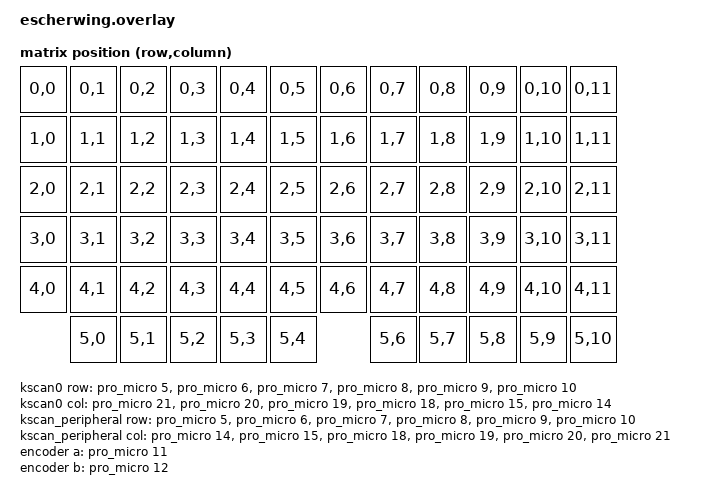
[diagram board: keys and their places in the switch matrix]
/*
 * Copyright (c) 2023 The ZMK Contributors
 *
 * SPDX-License-Identifier: MIT
 */

#include <dt-bindings/zmk/matrix_transform.h>

/ {
    chosen {
        zmk,kscan = &kscan_central;
        zmk,matrix_transform = &default_transform;
    };

    default_transform: keymap_transform_0 {
        compatible = "zmk,matrix-transform";
        columns = <12>;  // 6 cols per side
        rows = <6>;
        
        // Split keyboard layout - 35 keys per side (70 total)
        // Left side (normal orientation) | Right side (flipped)
        map = <
            RC(0,0) RC(0,1) RC(0,2) RC(0,3) RC(0,4) RC(0,5)    RC(0,6) RC(0,7) RC(0,8) RC(0,9) RC(0,10) RC(0,11)
            RC(1,0) RC(1,1) RC(1,2) RC(1,3) RC(1,4) RC(1,5)    RC(1,6) RC(1,7) RC(1,8) RC(1,9) RC(1,10) RC(1,11)
            RC(2,0) RC(2,1) RC(2,2) RC(2,3) RC(2,4) RC(2,5)    RC(2,6) RC(2,7) RC(2,8) RC(2,9) RC(2,10) RC(2,11)
            RC(3,0) RC(3,1) RC(3,2) RC(3,3) RC(3,4) RC(3,5)    RC(3,6) RC(3,7) RC(3,8) RC(3,9) RC(3,10) RC(3,11)
            RC(4,0) RC(4,1) RC(4,2) RC(4,3) RC(4,4) RC(4,5)    RC(4,6) RC(4,7) RC(4,8) RC(4,9) RC(4,10) RC(4,11)
                    RC(5,0) RC(5,1) RC(5,2) RC(5,3) RC(5,4)            RC(5,6) RC(5,7) RC(5,8) RC(5,9) RC(5,10)
        >;
    };

    kscan0: kscan {
        compatible = "zmk,kscan-gpio-matrix";
        label = "KSCAN";
        
        diode-direction = "col2row";
        
        row-gpios
            = <&pro_micro 5  (GPIO_ACTIVE_HIGH | GPIO_PULL_DOWN)>  // P0.17 - Row0
            , <&pro_micro 6  (GPIO_ACTIVE_HIGH | GPIO_PULL_DOWN)>  // P0.20 - Row1  
            , <&pro_micro 7  (GPIO_ACTIVE_HIGH | GPIO_PULL_DOWN)>  // P0.22 - Row2
            , <&pro_micro 8  (GPIO_ACTIVE_HIGH | GPIO_PULL_DOWN)>  // P0.24 - Row3
            , <&pro_micro 9  (GPIO_ACTIVE_HIGH | GPIO_PULL_DOWN)>  // P1.00 - Row4
            , <&pro_micro 10 (GPIO_ACTIVE_HIGH | GPIO_PULL_DOWN)>  // P0.11 - Row5
            ;
            
        col-gpios
            = <&pro_micro 21 GPIO_ACTIVE_HIGH>  // P0.02 - Col0
            , <&pro_micro 20 GPIO_ACTIVE_HIGH>  // P0.29 - Col1
            , <&pro_micro 19 GPIO_ACTIVE_HIGH>  // P0.31 - Col2
            , <&pro_micro 18 GPIO_ACTIVE_HIGH>  // P1.15 - Col3
            , <&pro_micro 15 GPIO_ACTIVE_HIGH>  // P1.13 - Col4
            , <&pro_micro 14 GPIO_ACTIVE_HIGH>  // P1.11 - Col5
            ;
    };

    // Split keyboard communication via TRRS
    // Central (left) side will be the primary
    kscan_central: kscan_central {
        compatible = "zmk,kscan-composite";
        label = "KSCAN_CENTRAL";
        rows = <6>;
        columns = <12>;
        
        left: left_kscan {
            kscan = <&kscan0>;
        };
        
        right: right_kscan {
            kscan = <&kscan_peripheral>;
            column-offset = <6>;
        };
    };

    kscan_peripheral: kscan_peripheral {
        compatible = "zmk,kscan-gpio-matrix";
        label = "KSCAN_PERIPHERAL";
        
        diode-direction = "col2row";
        
        // Right side pins (accounting for flipped orientation)
        row-gpios
            = <&pro_micro 5  (GPIO_ACTIVE_HIGH | GPIO_PULL_DOWN)>  // P0.17 - Row0
            , <&pro_micro 6  (GPIO_ACTIVE_HIGH | GPIO_PULL_DOWN)>  // P0.20 - Row1  
            , <&pro_micro 7  (GPIO_ACTIVE_HIGH | GPIO_PULL_DOWN)>  // P0.22 - Row2
            , <&pro_micro 8  (GPIO_ACTIVE_HIGH | GPIO_PULL_DOWN)>  // P0.24 - Row3
            , <&pro_micro 9  (GPIO_ACTIVE_HIGH | GPIO_PULL_DOWN)>  // P1.00 - Row4
            , <&pro_micro 10 (GPIO_ACTIVE_HIGH | GPIO_PULL_DOWN)>  // P0.11 - Row5
            ;
            
        // Columns are flipped for the right side
        col-gpios
            = <&pro_micro 14 GPIO_ACTIVE_HIGH>  // P1.11 - Col5 (flipped to Col0)
            , <&pro_micro 15 GPIO_ACTIVE_HIGH>  // P1.13 - Col4 (flipped to Col1)
            , <&pro_micro 18 GPIO_ACTIVE_HIGH>  // P1.15 - Col3 (flipped to Col2)
            , <&pro_micro 19 GPIO_ACTIVE_HIGH>  // P0.31 - Col2 (flipped to Col3)
            , <&pro_micro 20 GPIO_ACTIVE_HIGH>  // P0.29 - Col1 (flipped to Col4)
            , <&pro_micro 21 GPIO_ACTIVE_HIGH>  // P0.02 - Col0 (flipped to Col5)
            ;
    };

    // Rotary encoder
    encoder: encoder {
        compatible = "alps,ec11";
        label = "ENCODER";
        a-gpios = <&pro_micro 11 (GPIO_ACTIVE_HIGH | GPIO_PULL_UP)>; // P1.04 - RotA
        b-gpios = <&pro_micro 12 (GPIO_ACTIVE_HIGH | GPIO_PULL_UP)>; // P1.06 - RotB
        resolution = <4>;
        status = "okay";
    };

    // LEDs
    led_strip: ws2812 {
        compatible = "worldsemi,ws2812-spi";
        label = "WS2812";
        
        /* SPI */
        spi-max-frequency = <4000000>;
        
        /* WS2812 */
        chain-length = <2>; // Adjust based on number of LEDs
        spi-one-frame = <0x70>;
        spi-zero-frame = <0x40>;
        
        color-mapping = <LED_COLOR_ID_GREEN LED_COLOR_ID_RED LED_COLOR_ID_BLUE>;
    };
    
    sensors {
        compatible = "zmk,keymap-sensors";
        sensors = <&encoder>;
        triggers-per-rotation = <20>;
    };
};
